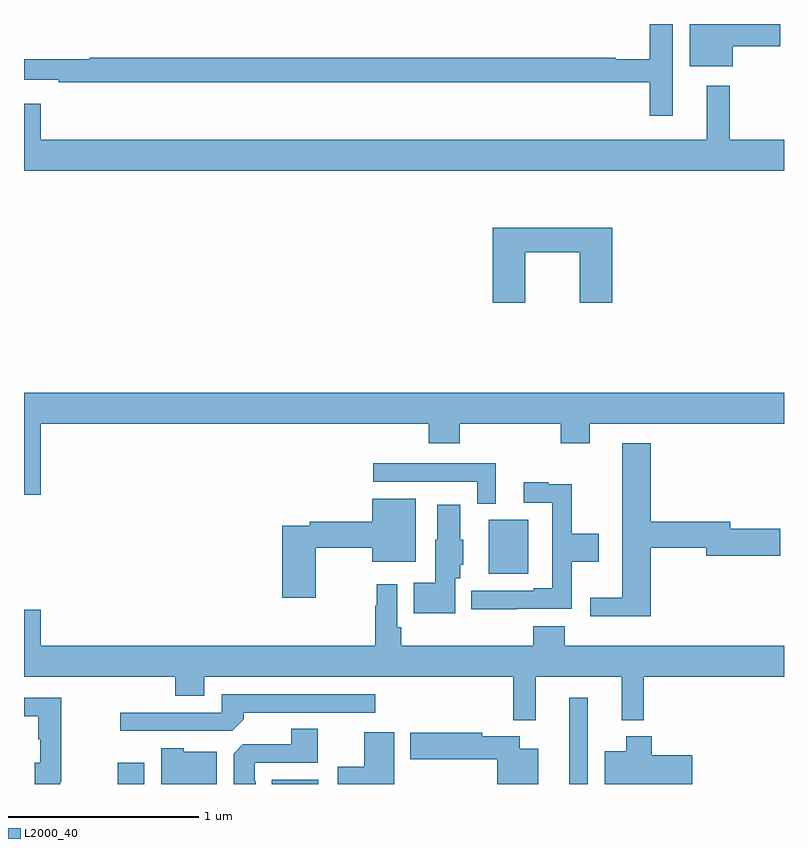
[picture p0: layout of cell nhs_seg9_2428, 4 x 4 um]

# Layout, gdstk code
import gdstk
lib = gdstk.Library(unit=1e-6, precision=1e-09)
def R(c, l, rs):  # rectangles x0, y0, x1, y1
    for r in rs: c.add(gdstk.rectangle(r[:2], r[2:], *l))
def P(c, l, *ps):  # polygons
    for p in ps: c.add(gdstk.Polygon(p, *l))
L2000_40 = (2000, 40)

nhs_seg9_2428 = lib.new_cell('nhs_seg9_2428')
R(nhs_seg9_2428, L2000_40, [(249.493,1218.5,249.634,1218.613), (250.304,1218.5,250.549,1218.523), (251.87,1218.5,251.967,1218.955), (251.447,1219.607,251.653,1219.891)])
P(nhs_seg9_2428, L2000_40, [(252.415,1222.5),(252.294,1222.5),(252.294,1222.315),(252.115,1222.315),(252.115,1222.322),(249.345,1222.322),(249.345,1222.315),(249,1222.315),(249,1222.206),(249.184,1222.206),(249.184,1222.194),(252.294,1222.194),(252.294,1222.017),(252.415,1222.017)],
  [(252.73,1222.384),(252.979,1222.384),(252.979,1222.5),(252.503,1222.5),(252.503,1222.277),(252.73,1222.277)],
  [(253,1221.892),(252.715,1221.892),(252.715,1222.174),(252.593,1222.174),(252.593,1221.892),(249.088,1221.892),(249.088,1222.081),(249,1222.081),(249,1221.728),(253,1221.728)],
  [(251.638,1221.298),(251.924,1221.298),(251.924,1221.033),(252.095,1221.033),(252.095,1221.427),(251.468,1221.427),(251.468,1221.033),(251.638,1221.033)],
  [(249.088,1220.396),(251.129,1220.396),(251.129,1220.294),(251.294,1220.294),(251.294,1220.396),(251.825,1220.396),(251.825,1220.294),(251.977,1220.294),(251.977,1220.396),(253,1220.396),(253,1220.56),(249,1220.56),(249,1220.022),(249.088,1220.022)],
  [(252.299,1219.744),(252.59,1219.744),(252.59,1219.702),(252.979,1219.702),(252.979,1219.844),(252.718,1219.844),(252.718,1219.88),(252.299,1219.88),(252.299,1220.293),(252.149,1220.293),(252.149,1219.481),(251.979,1219.481),(251.979,1219.382),(252.299,1219.382)],
  [(251.482,1220.187),(250.839,1220.187),(250.839,1220.091),(251.385,1220.091),(251.385,1219.976),(251.482,1219.976)],
  [(251.597,1219.422),(251.882,1219.422),(251.882,1219.67),(252.025,1219.67),(252.025,1219.818),(251.882,1219.818),(251.882,1220.078),(251.759,1220.078),(251.759,1220.089),(251.631,1220.089),(251.631,1219.98),(251.781,1219.98),(251.781,1219.531),(251.684,1219.531),(251.684,1219.518),(251.355,1219.518),(251.355,1219.421),(251.597,1219.421)],
  [(250.536,1219.744),(250.832,1219.744),(250.832,1219.67),(251.062,1219.67),(251.062,1220.002),(250.832,1220.002),(250.832,1219.88),(250.504,1219.88),(250.504,1219.86),(250.358,1219.86),(250.358,1219.479),(250.536,1219.479)],
  [(251.269,1219.584),(251.296,1219.584),(251.296,1219.653),(251.311,1219.653),(251.311,1219.785),(251.296,1219.785),(251.296,1219.969),(251.174,1219.969),(251.174,1219.785),(251.165,1219.785),(251.165,1219.558),(251.05,1219.558),(251.05,1219.4),(251.269,1219.4)],
  [(251.693,1219.064),(252.146,1219.064),(252.146,1218.836),(252.263,1218.836),(252.263,1219.064),(253,1219.064),(253,1219.228),(251.846,1219.228),(251.846,1219.33),(251.681,1219.33),(251.681,1219.228),(250.985,1219.228),(250.985,1219.324),(250.965,1219.324),(250.965,1219.552),(250.857,1219.552),(250.857,1219.439),(250.849,1219.439),(250.849,1219.228),(249.088,1219.228),(249.088,1219.417),(249,1219.417),(249,1219.064),(249.797,1219.064),(249.797,1218.965),(249.949,1218.965),(249.949,1219.064),(251.575,1219.064),(251.575,1218.836),(251.693,1218.836)],
  [(250.157,1218.842),(250.157,1218.876),(250.849,1218.876),(250.849,1218.972),(250.041,1218.972),(250.041,1218.876),(249.507,1218.876),(249.507,1218.78),(250.095,1218.78)],
  [(249.192,1218.509),(249.196,1218.509),(249.196,1218.954),(249,1218.954),(249,1218.856),(249.075,1218.856),(249.075,1218.735),(249.086,1218.735),(249.086,1218.613),(249.056,1218.613),(249.056,1218.5),(249.192,1218.5)],
  [(250.219,1218.515),(250.215,1218.515),(250.215,1218.612),(250.546,1218.612),(250.546,1218.791),(250.406,1218.791),(250.406,1218.708),(250.152,1218.708),(250.103,1218.659),(250.103,1218.5),(250.219,1218.5)],
  [(250.948,1218.772),(250.79,1218.772),(250.79,1218.592),(250.65,1218.592),(250.65,1218.5),(250.948,1218.5)],
  [(251.707,1218.685),(251.608,1218.685),(251.608,1218.751),(251.412,1218.751),(251.412,1218.771),(251.033,1218.771),(251.033,1218.629),(251.492,1218.629),(251.492,1218.5),(251.707,1218.5)],
  [(252.517,1218.651),(252.305,1218.651),(252.305,1218.751),(252.17,1218.751),(252.17,1218.673),(252.056,1218.673),(252.056,1218.5),(252.517,1218.5)],
  [(250.015,1218.67),(249.84,1218.67),(249.84,1218.688),(249.722,1218.688),(249.722,1218.5),(250.015,1218.5)])

lib.write_gds('nhs_seg9_2428.gds')
